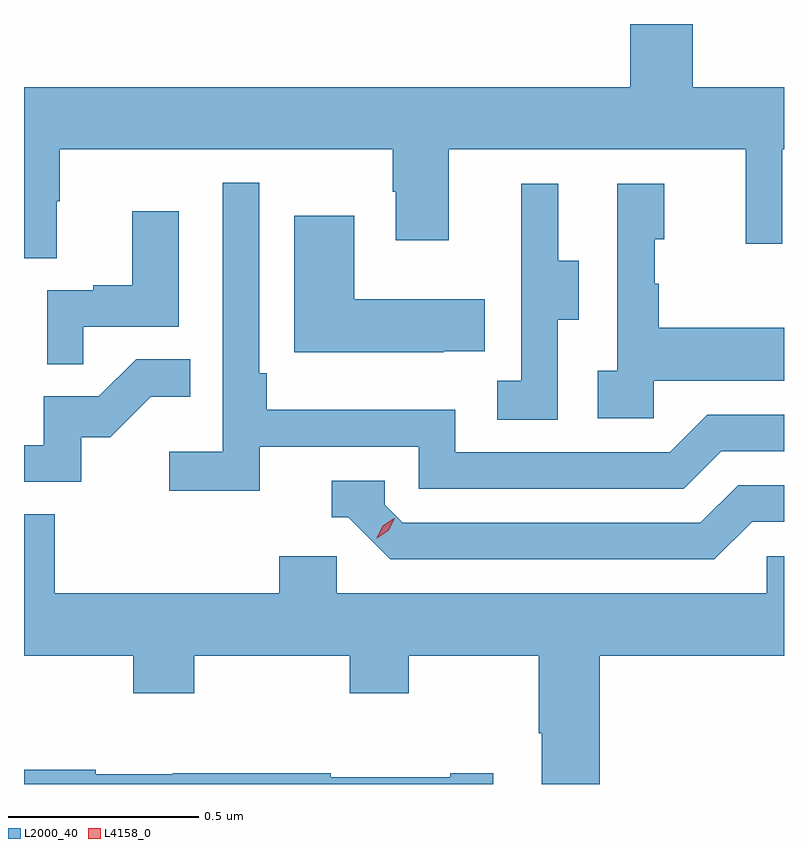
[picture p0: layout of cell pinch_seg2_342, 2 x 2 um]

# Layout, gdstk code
import gdstk
lib = gdstk.Library(unit=1e-6, precision=1e-09)
def P(c, l, *ps):  # polygons
    for p in ps: c.add(gdstk.Polygon(p, *l))
L2000_40 = (2000, 40)
L4158_0 = (4158, 0)

pinch_seg2_342 = lib.new_cell('pinch_seg2_342')
P(pinch_seg2_342, L2000_40, [(990.115,646.167),(990.123,646.167),(990.123,646.304),(991,646.304),(991,646.193),(991.007,646.193),(991.007,646.065),(991.147,646.065),(991.147,646.304),(991.928,646.304),(991.928,646.056),(992.025,646.056),(992.025,646.304),(992.029,646.304),(992.029,646.468),(991.789,646.468),(991.789,646.634),(991.625,646.634),(991.625,646.468),(990.029,646.468),(990.029,646.018),(990.115,646.018)],
  [(990.65,645.522),(991.068,645.522),(991.068,645.411),(991.765,645.411),(991.864,645.51),(992.029,645.51),(992.029,645.606),(991.827,645.606),(991.728,645.507),(991.164,645.507),(991.164,645.619),(990.668,645.619),(990.668,645.715),(990.648,645.715),(990.648,646.216),(990.552,646.216),(990.552,645.508),(990.411,645.508),(990.411,645.406),(990.65,645.406)],
  [(991.434,645.856),(991.489,645.856),(991.489,646.011),(991.435,646.011),(991.435,646.213),(991.337,646.213),(991.337,645.999),(991.338,645.999),(991.338,645.695),(991.275,645.695),(991.275,645.592),(991.434,645.592)],
  [(991.686,645.695),(992.029,645.695),(992.029,645.835),(991.699,645.835),(991.699,645.95),(991.689,645.95),(991.689,646.068),(991.714,646.068),(991.714,646.213),(991.59,646.213),(991.59,645.722),(991.539,645.722),(991.539,645.597),(991.686,645.597)],
  [(990.185,645.837),(990.436,645.837),(990.436,646.141),(990.314,646.141),(990.314,645.946),(990.211,645.946),(990.211,645.933),(990.09,645.933),(990.09,645.739),(990.185,645.739)],
  [(991.133,645.773),(991.241,645.773),(991.241,645.91),(990.898,645.91),(990.898,646.129),(990.74,646.129),(990.74,645.77),(991.133,645.77)],
  [(990.18,645.546),(990.256,645.546),(990.363,645.653),(990.467,645.653),(990.467,645.752),(990.324,645.752),(990.226,645.654),(990.081,645.654),(990.081,645.525),(990.029,645.525),(990.029,645.429),(990.18,645.429)],
  [(991.945,645.324),(992.029,645.324),(992.029,645.42),(991.908,645.42),(991.809,645.321),(991.026,645.321),(990.978,645.369),(990.978,645.432),(990.839,645.432),(990.839,645.336),(990.882,645.336),(990.993,645.225),(991.846,645.225)],
  [(990.701,645.234),(990.701,645.136),(990.11,645.136),(990.11,645.344),(990.029,645.344),(990.029,644.972),(990.317,644.972),(990.317,644.873),(990.477,644.873),(990.477,644.972),(990.886,644.972),(990.886,644.873),(991.041,644.873),(991.041,644.972),(991.384,644.972),(991.384,644.768),(991.391,644.768),(991.391,644.634),(991.544,644.634),(991.544,644.972),(992.029,644.972),(992.029,645.234),(991.983,645.234),(991.983,645.136),(990.852,645.136),(990.852,645.234)],
  [(991.264,644.662),(991.151,644.662),(991.151,644.652),(990.836,644.652),(990.836,644.662),(990.42,644.662),(990.42,644.66),(990.218,644.66),(990.218,644.671),(990.029,644.671),(990.029,644.634),(991.264,644.634)])
P(pinch_seg2_342, L4158_0, [(990.957,645.281),(990.957,645.281),(990.973,645.314),(991.003,645.334),(991.004,645.334),(991.004,645.333),(990.988,645.301),(990.957,645.281)])

lib.write_gds('pinch_seg2_342.gds')
